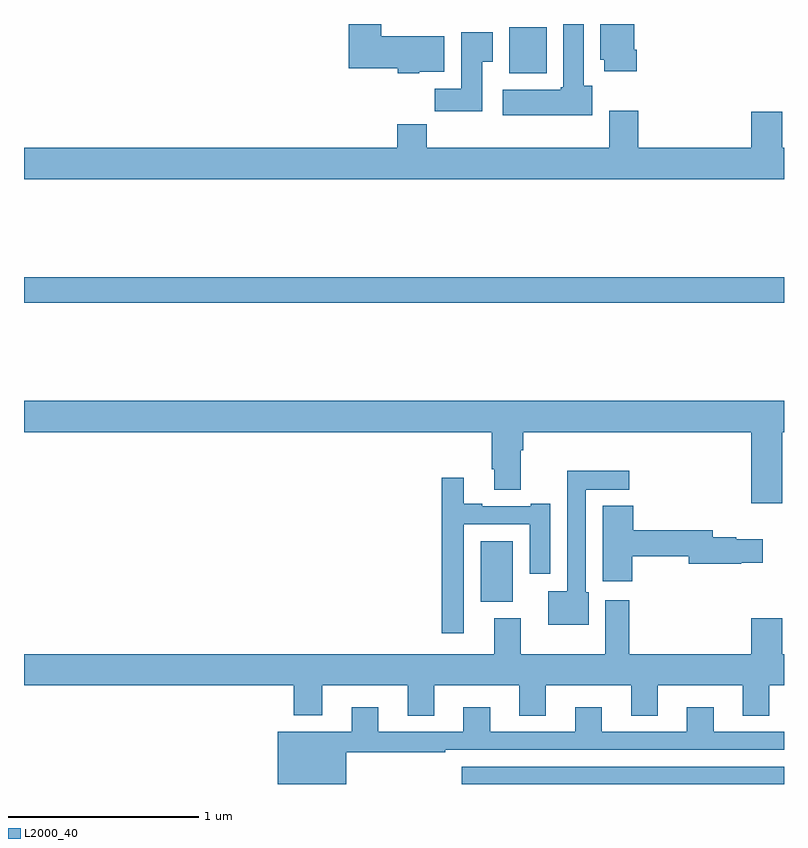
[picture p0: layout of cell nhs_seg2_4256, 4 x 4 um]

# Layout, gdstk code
import gdstk
lib = gdstk.Library(unit=1e-6, precision=1e-09)
def R(c, l, rs):  # rectangles x0, y0, x1, y1
    for r in rs: c.add(gdstk.rectangle(r[:2], r[2:], *l))
def P(c, l, *ps):  # polygons
    for p in ps: c.add(gdstk.Polygon(p, *l))
L2000_40 = (2000, 40)

nhs_seg2_4256 = lib.new_cell('nhs_seg2_4256')
R(nhs_seg2_4256, L2000_40, [(343.305,629.8,345,629.89), (343.403,630.758,343.573,631.078), (341,632.332,345,632.468), (343.553,633.542,343.75,633.784)])
P(nhs_seg2_4256, L2000_40, [(344.225,633.664),(344.212,633.664),(344.212,633.8),(344.033,633.8),(344.033,633.612),(344.054,633.612),(344.054,633.552),(344.225,633.552)],
  [(343.08,633.548),(343.213,633.548),(343.213,633.736),(342.88,633.736),(342.88,633.8),(342.71,633.8),(342.71,633.566),(342.966,633.566),(342.966,633.542),(343.08,633.542)],
  [(343.99,633.474),(343.945,633.474),(343.945,633.8),(343.838,633.8),(343.838,633.468),(343.825,633.468),(343.825,633.454),(343.521,633.454),(343.521,633.32),(343.99,633.32)],
  [(343.411,633.601),(343.468,633.601),(343.468,633.757),(343.301,633.757),(343.301,633.46),(343.162,633.46),(343.162,633.342),(343.411,633.342)],
  [(344.828,633.337),(344.828,633.148),(344.234,633.148),(344.234,633.343),(344.081,633.343),(344.081,633.148),(343.121,633.148),(343.121,633.272),(342.965,633.272),(342.965,633.148),(341,633.148),(341,632.984),(345,632.984),(345,633.148),(344.992,633.148),(344.992,633.337)],
  [(344.992,631.652),(345,631.652),(345,631.816),(341,631.816),(341,631.652),(343.463,631.652),(343.463,631.456),(343.475,631.456),(343.475,631.348),(343.615,631.348),(343.615,631.556),(343.628,631.556),(343.628,631.652),(344.828,631.652),(344.828,631.278),(344.992,631.278)],
  [(343.972,630.81),(343.956,630.81),(343.956,631.35),(344.185,631.35),(344.185,631.448),(343.86,631.448),(343.86,630.814),(343.76,630.814),(343.76,630.638),(343.972,630.638)],
  [(343.314,631.167),(343.661,631.167),(343.661,630.906),(343.771,630.906),(343.771,631.276),(343.667,631.276),(343.667,631.263),(343.411,631.263),(343.411,631.276),(343.315,631.276),(343.315,631.411),(343.198,631.411),(343.198,630.594),(343.314,630.594)],
  [(344.202,631),(344.498,631),(344.498,630.958),(344.774,630.958),(344.774,630.965),(344.887,630.965),(344.887,631.087),(344.748,631.087),(344.748,631.1),(344.626,631.1),(344.626,631.136),(344.207,631.136),(344.207,631.265),(344.045,631.265),(344.045,630.867),(344.202,630.867)],
  [(343.159,630.32),(343.607,630.32),(343.607,630.16),(343.747,630.16),(343.747,630.32),(344.195,630.32),(344.195,630.16),(344.335,630.16),(344.335,630.32),(344.783,630.32),(344.783,630.16),(344.923,630.16),(344.923,630.32),(345,630.32),(345,630.484),(344.992,630.484),(344.992,630.673),(344.828,630.673),(344.828,630.484),(344.186,630.484),(344.186,630.766),(344.06,630.766),(344.06,630.484),(343.615,630.484),(343.615,630.673),(343.475,630.673),(343.475,630.484),(341,630.484),(341,630.32),(342.419,630.32),(342.419,630.161),(342.571,630.161),(342.571,630.32),(343.019,630.32),(343.019,630.16),(343.159,630.16)],
  [(342.697,629.967),(343.217,629.967),(343.217,629.979),(345,629.979),(345,630.075),(344.629,630.075),(344.629,630.205),(344.489,630.205),(344.489,630.075),(344.041,630.075),(344.041,630.205),(343.901,630.205),(343.901,630.075),(343.453,630.075),(343.453,630.205),(343.313,630.205),(343.313,630.075),(342.865,630.075),(342.865,630.205),(342.725,630.205),(342.725,630.076),(342.335,630.076),(342.335,629.8),(342.697,629.8)])

lib.write_gds('nhs_seg2_4256.gds')
